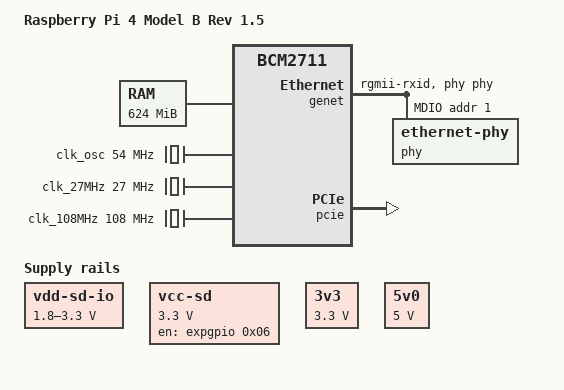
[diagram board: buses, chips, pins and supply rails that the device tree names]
/dts-v1/;

/ {
	#address-cells = <0x02>;
	#size-cells = <0x01>;
	interrupt-parent = <&gicv2>;
	model = "Raspberry Pi 4 Model B Rev 1.5";
	serial-number = "100000000a471c8d";
	compatible = "raspberrypi,4-model-b\0brcm,bcm2711";

	zone_dma {
		#address-cells = <0x01>;
		#size-cells = <0x01>;
		dma-ranges = <0x00 0x00 0x14400000 0x27000000>;
	};

	regulator-sd-io-1v8 {
		compatible = "regulator-gpio";
		regulator-name = "vdd-sd-io";
		regulator-min-microvolt = <0x1b7740>;
		regulator-max-microvolt = <0x325aa0>;
		regulator-boot-on;
		regulator-always-on;
		regulator-settling-time-us = <0x1388>;
		gpios = <&expgpio 0x04 0x00>;
		states = <0x1b7740 0x01 0x325aa0 0x00>;
		status = "okay";
	};

	regulator-sd-vcc {
		regulator-max-microvolt = <0x325aa0>;
		regulator-boot-on;
		gpio = <&expgpio 0x06 0x00>;
		enable-active-high;
		regulator-min-microvolt = <0x325aa0>;
		regulator-name = "vcc-sd";
		compatible = "regulator-fixed";
	};

	fixedregulator_3v3 {
		regulator-max-microvolt = <0x325aa0>;
		regulator-always-on;
		regulator-min-microvolt = <0x325aa0>;
		regulator-name = "3v3";
		compatible = "regulator-fixed";
	};

	fixedregulator_5v0 {
		regulator-max-microvolt = <0x4c4b40>;
		regulator-always-on;
		regulator-min-microvolt = <0x4c4b40>;
		regulator-name = "5v0";
		compatible = "regulator-fixed";
	};

	gpu: gpu {
		compatible = "brcm,bcm2711-vc5";
		status = "okay";
		raspberrypi,firmware = <&firmware>;
	};

	aliases:	aliases {
		/* serial5 = &uart5; */
		/* vchiq = &vchiq_mailbox; */
		vc4 = &gpu;
	};

	chosen:	chosen {
		/* stdout-path = "serial5:115200n8"; */
		stdout-path = "";
		bootargs = "earlycon clk_ignore_unused cfg80211.ieee80211_regdom=PT ip=192.168.42.15 carrier_timeout=0"; // disable Ethernet for PX4
	};

	psci {
		compatible = "arm,psci-0.2";
		method = "smc";
	};

	cpus:	cpus {
		#size-cells = <0x00>;
		#address-cells = <0x01>;


		cpu0:	cpu@0 {
			compatible = "arm,armv8";
			device_type = "cpu";
			enable-method = "psci";
			status = "disabled"; // Marked as unused
			reg = <0x00>;
		};

		cpu1:	cpu@1 {
			compatible = "arm,armv8";
			device_type = "cpu";
			enable-method = "psci";
			reg = <0x01>;
		};

		cpu2:	cpu@2 {
			compatible = "arm,armv8";
			device_type = "cpu";
			enable-method = "psci";
			reg = <0x02>;
		};

		cpu3:	cpu@3 {
			compatible = "arm,armv8";
			device_type = "cpu";
			enable-method = "psci";
			reg = <0x03>;
		};
	};

	memory@14400000 {
		device_type = "memory";
		reg = <
		0x00 0x14400000 0x27000000 // 624 MB
		/* 0x01 0x00000000 0x80000000 // 2 GB */
		>;
	};

	rmem: reserved-memory {
		#address-cells = <0x02>;
		#size-cells = <0x01>;
		ranges;
		cma_region: linux,cma {
			linux,cma-default;
			compatible = "shared-dma-pool";
			alloc-ranges = <0x00 0x14400000 0x27000000>;
			size = <0x18000000>;
			reusable;
		};
	};
	
	clocks {

		clk_osc:	clk-osc {
			clock-output-names = "osc";
			#clock-cells = <0x00>;
			clock-frequency = <0x337f980>;
			compatible = "fixed-clock";
		};

		clk_usb:	clk-usb {
			clock-output-names = "otg";
			#clock-cells = <0x00>;
			clock-frequency = <0x1c9c3800>;
			compatible = "fixed-clock";
		};
	};

	clk_27MHz: clk-27M {
		#clock-cells = <0x00>;
		compatible = "fixed-clock";
		clock-frequency = <0x19bfcc0>;
		clock-output-names = "27MHz-clock";
	};

	clk_108MHz:	clk-108M {
		#clock-cells = <0x00>;
		compatible = "fixed-clock";
		clock-frequency = <0x66ff300>;
		clock-output-names = "108MHz-clock";
	};

	timer {
		compatible = "arm,armv8-timer";
		interrupts = <0x01 0x0d 0xf08 0x01 0x0e 0xf08 0x01 0x0b 0xf08 0x01 0x0a 0xf08>;
	};

	soc:	soc {
		compatible = "simple-bus";
		#address-cells = <0x01>;
		#size-cells = <0x01>;
		ranges = <
		0x7e000000 0x00 0xfe000000 0x1800000 
		0x7c000000 0x00 0xfc000000 0x2000000 
		0x40000000 0x00 0xff800000 0x800000>;
		dma-ranges = <
		0xc0000000 0x00 0x00000000 0x40000000 
		0x7c000000 0x00 0xfc000000 0x3800000>;


		/**< ================ GIC ========== */
		gicv2:	interrupt-controller@40041000 {
			interrupts = <0x01 0x09 0xf04>;
			compatible = "arm,gic-400";
			#interrupt-cells = <0x03>;
			reg = <0x40041000 0x1000 0x40042000 0x2000 0x40044000 0x2000 0x40046000 0x2000>;
			interrupt-controller;
		};

		/**< ================ Power, firmware and mailbox ========== */
		power: power {
			compatible = "raspberrypi,bcm2835-power";
			firmware = <&firmware>;
			#power-domain-cells = <0x01>;
		};

		firmware:	firmware {
			dma-ranges;
			#address-cells = <0x01>;
			#size-cells = <0x01>;
			compatible = "raspberrypi,bcm2835-firmware\0simple-mfd";
			mboxes = <&mailbox>;

			expgpio:	gpio {
				gpio-controller;
				gpio-line-names = "BT_ON\0WL_ON\0PWR_LED_OFF\0GLOBAL_RESET\0VDD_SD_IO_SEL\0CAM_GPIO\0SD_PWR_ON\0SD_OC_N";
				compatible = "raspberrypi,firmware-gpio";
				status = "okay";
				#gpio-cells = <0x02>;
			};

			reset:	reset {
				#reset-cells = <0x01>;
				compatible = "raspberrypi,firmware-reset";
			};

			firmware_clocks:	clocks {
				#clock-cells = <0x01>;
				compatible = "raspberrypi,firmware-clocks";
			};

			vcio:	vcio {
				compatible = "raspberrypi,vcio";
			};
		};

		mailbox:	mailbox@7e00b880 {
			interrupts = <0x00 0x21 0x04>;
			#mbox-cells = <0x00>;
			compatible = "brcm,bcm2835-mbox";
			reg = <0x7e00b880 0x40>;
		};

	};

	scb:	scb@7c000000 {
		compatible = "simple-bus";
		#address-cells = <0x02>;
		#size-cells = <0x02>;
		dma-ranges = <0x00 0x00 0x00 0x00 0x04 0x00>;
		ranges = <0x00 0x7c000000 0x00 0xfc000000 0x00 0x3800000 0x00 0x40000000 0x00 0xff800000 0x00 0x800000 0x06 0x00 0x06 0x00 0x00 0x40000000 0x00 0x00 0x00 0x00 0x00 0xfc000000>;

		genet:	ethernet@7d580000 {
			local-mac-address = [dc a6 32 a3 9c 57];
			compatible = "brcm,bcm2711-genet-v5\0brcm,genet-v5";
			reg = <0x00 0x7d580000 0x00 0x10000>;
			#address-cells = <0x01>;
			#size-cells = <0x01>;
			interrupts = <0x00 0x9d 0x04 0x00 0x9e 0x04>;
			status = "okay";
			phy-handle = <&phy>;
			phy-mode = "rgmii-rxid";

			genet_mdio:	mdio@e14 {
				compatible = "brcm,genet-mdio-v5";
				reg = <0xe14 0x08>;
				reg-names = "mdio";
				#address-cells = <0x00>;
				#size-cells = <0x01>;

				phy:	ethernet-phy@1 {
					reg = <0x01>;
					led-modes = <0x00 0x08>;
				};
			};
		};


/**< USB camera */
		pcie: pcie@7d500000 {
			dma-ranges = <0x2000000 0x04 0x00 0x00 0x00 0x02 0x00>;
			brcm,enable-ssc;
			#address-cells = <0x03>;
			interrupts = <0x00 0x93 0x04 0x00 0x94 0x04>;
			interrupt-map = <0x00 0x00 0x00 0x01 0x01 0x00 0x8f 0x04 0x00 0x00 0x00 0x02 0x01 0x00 0x90 0x04 0x00 0x00 0x00 0x03 0x01 0x00 0x91 0x04 0x00 0x00 0x00 0x04 0x01 0x00 0x92 0x04>;
			#size-cells = <0x02>;
			msi-controller;
			device_type = "pci";
			interrupt-map-mask = <0x00 0x00 0x00 0x07>;
			compatible = "brcm,bcm2711-pcie\0brcm,bcm7445-pcie";
			ranges = <0x2000000 0x00 0xc0000000 0x06 0x00 0x00 0x40000000>;
			#interrupt-cells = <0x01>;
			interrupt-names = "pcie\0msi";
			reg = <0x00 0x7d500000 0x00 0x9310>;
			msi-parent = <&pcie>;

			pci@0,0 {
				#address-cells = <0x03>;
				#size-cells = <0x02>;
				device_type = "pci";
				ranges;
				reg = <0x00 0x00 0x00 0x00 0x00>;

				usb@0,0 {
					resets = <&reset 0x00>;
					reg = <0x00 0x00 0x00 0x00 0x00>;
				};
			};
		};
	};

};
